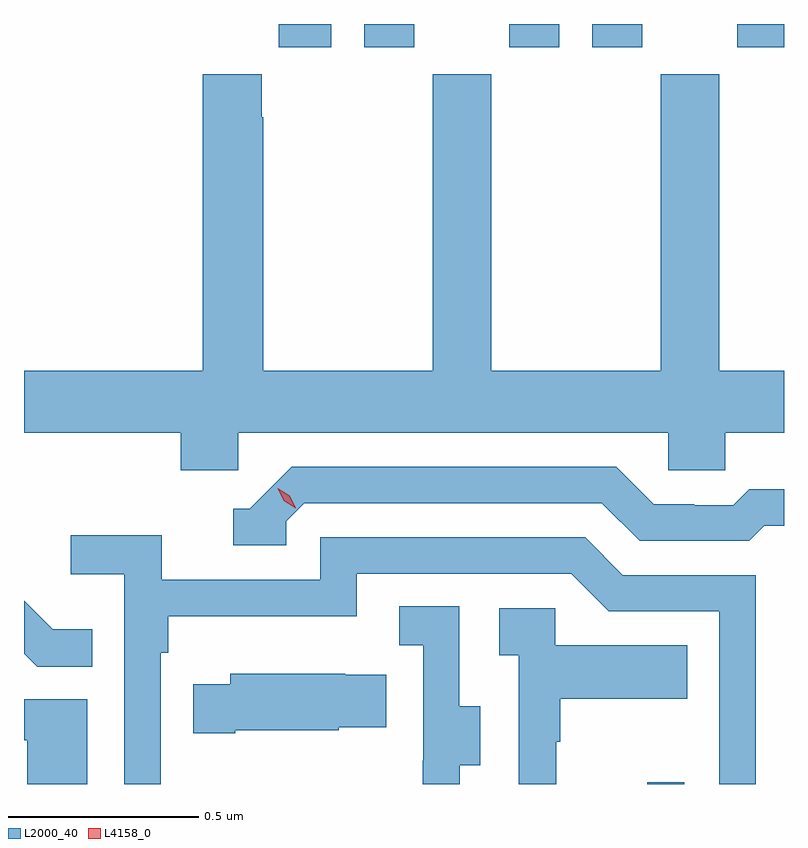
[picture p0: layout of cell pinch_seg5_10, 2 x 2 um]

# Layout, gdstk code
import gdstk
lib = gdstk.Library(unit=1e-6, precision=1e-09)
def R(c, l, rs):  # rectangles x0, y0, x1, y1
    for r in rs: c.add(gdstk.rectangle(r[:2], r[2:], *l))
def P(c, l, *ps):  # polygons
    for p in ps: c.add(gdstk.Polygon(p, *l))
L2000_40 = (2000, 40)
L4158_0 = (4158, 0)

pinch_seg5_10 = lib.new_cell('pinch_seg5_10')
R(pinch_seg5_10, L2000_40, [(1143.998,902.456,1144.095,902.461), (1143.029,904.395,1143.166,904.456), (1143.254,904.395,1143.385,904.456), (1143.635,904.395,1143.766,904.456), (1143.854,904.395,1143.985,904.456), (1144.235,904.395,1144.358,904.456)])
P(pinch_seg5_10, L2000_40, [(1142.922,903.38),(1144.053,903.38),(1144.053,903.282),(1144.203,903.282),(1144.203,903.38),(1144.358,903.38),(1144.358,903.544),(1144.188,903.544),(1144.188,904.324),(1144.033,904.324),(1144.033,903.544),(1143.588,903.544),(1143.588,904.324),(1143.433,904.324),(1143.433,903.544),(1142.988,903.544),(1142.988,904.211),(1142.983,904.211),(1142.983,904.324),(1142.828,904.324),(1142.828,903.544),(1142.358,903.544),(1142.358,903.38),(1142.771,903.38),(1142.771,903.282),(1142.922,903.282)],
  [(1143.048,903.147),(1143.096,903.195),(1143.879,903.195),(1143.978,903.096),(1144.267,903.096),(1144.306,903.135),(1144.358,903.135),(1144.358,903.232),(1144.267,903.232),(1144.225,903.189),(1144.122,903.189),(1144.122,903.192),(1144.015,903.192),(1143.916,903.291),(1143.063,903.291),(1142.952,903.18),(1142.909,903.18),(1142.909,903.084),(1143.048,903.084)],
  [(1142.718,902.801),(1142.738,902.801),(1142.738,902.897),(1143.234,902.897),(1143.234,903.009),(1143.798,903.009),(1143.897,902.91),(1144.188,902.91),(1144.188,902.456),(1144.284,902.456),(1144.284,903.006),(1143.934,903.006),(1143.835,903.105),(1143.138,903.105),(1143.138,902.994),(1142.72,902.994),(1142.72,903.11),(1142.481,903.11),(1142.481,903.008),(1142.622,903.008),(1142.622,902.456),(1142.718,902.456)],
  [(1142.537,902.863),(1142.433,902.863),(1142.358,902.938),(1142.358,902.799),(1142.393,902.764),(1142.537,902.764)],
  [(1143.505,902.506),(1143.559,902.506),(1143.559,902.661),(1143.504,902.661),(1143.504,902.924),(1143.345,902.924),(1143.345,902.821),(1143.408,902.821),(1143.408,902.517),(1143.407,902.517),(1143.407,902.456),(1143.505,902.456)],
  [(1143.759,902.567),(1143.769,902.567),(1143.769,902.681),(1144.103,902.681),(1144.103,902.821),(1143.756,902.821),(1143.756,902.919),(1143.609,902.919),(1143.609,902.795),(1143.66,902.795),(1143.66,902.456),(1143.759,902.456)],
  [(1142.914,902.597),(1143.186,902.597),(1143.186,902.606),(1143.311,902.606),(1143.311,902.743),(1143.203,902.743),(1143.203,902.746),(1142.901,902.746),(1142.901,902.719),(1142.803,902.719),(1142.803,902.59),(1142.914,902.59)],
  [(1142.524,902.679),(1142.358,902.679),(1142.358,902.571),(1142.366,902.571),(1142.366,902.456),(1142.524,902.456)])
P(pinch_seg5_10, L4158_0, [(1143.073,903.182),(1143.042,903.201),(1143.026,903.234),(1143.026,903.234),(1143.026,903.234),(1143.057,903.215),(1143.073,903.183),(1143.073,903.182)])

lib.write_gds('pinch_seg5_10.gds')
